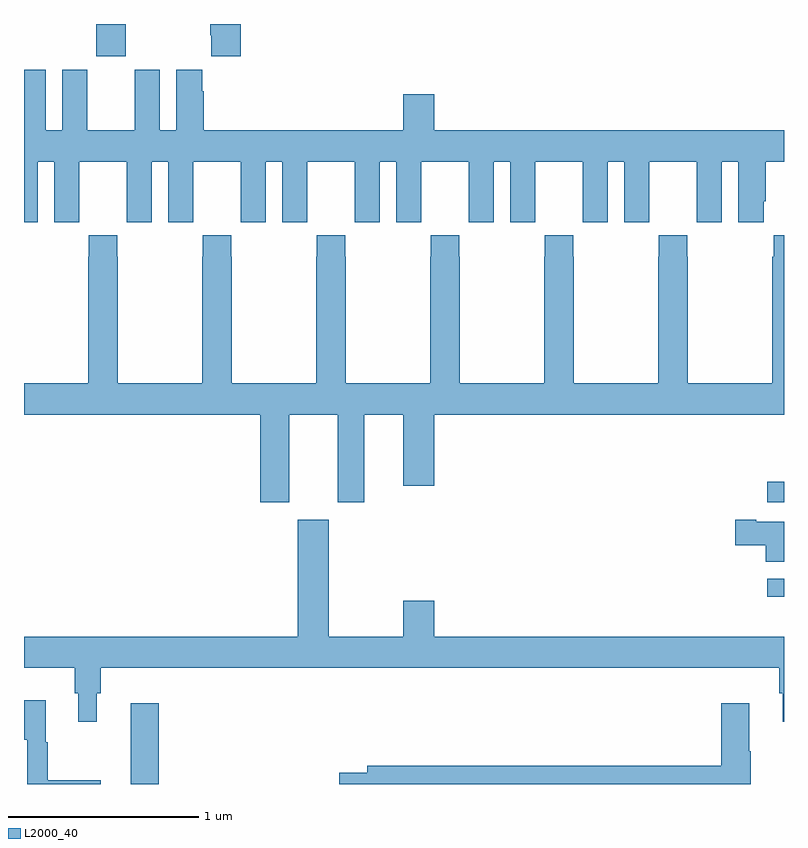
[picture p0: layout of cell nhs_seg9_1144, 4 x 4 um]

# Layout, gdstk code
import gdstk
lib = gdstk.Library(unit=1e-6, precision=1e-09)
def R(c, l, rs):  # rectangles x0, y0, x1, y1
    for r in rs: c.add(gdstk.rectangle(r[:2], r[2:], *l))
def P(c, l, *ps):  # polygons
    for p in ps: c.add(gdstk.Polygon(p, *l))
L2000_40 = (2000, 40)

nhs_seg9_1144 = lib.new_cell('nhs_seg9_1144')
R(nhs_seg9_1144, L2000_40, [(175.562,1170.5,175.709,1170.925), (178.911,1171.485,179,1171.581), (178.911,1171.983,179,1172.092), (175.381,1174.329,175.536,1174.5)])
P(nhs_seg9_1144, L2000_40, [(176.141,1174.5),(175.981,1174.5),(175.981,1174.441),(175.985,1174.441),(175.985,1174.329),(176.141,1174.329)],
  [(175.946,1174.145),(175.939,1174.145),(175.939,1174.258),(175.802,1174.258),(175.802,1173.94),(175.714,1173.94),(175.714,1174.258),(175.583,1174.258),(175.583,1173.94),(175.333,1173.94),(175.333,1174.258),(175.202,1174.258),(175.202,1173.94),(175.114,1173.94),(175.114,1174.258),(175,1174.258),(175,1173.456),(175.072,1173.456),(175.072,1173.776),(175.16,1173.776),(175.16,1173.456),(175.29,1173.456),(175.29,1173.568),(175.291,1173.568),(175.291,1173.776),(175.541,1173.776),(175.541,1173.568),(175.542,1173.568),(175.542,1173.456),(175.672,1173.456),(175.672,1173.776),(175.76,1173.776),(175.76,1173.456),(175.89,1173.456),(175.89,1173.568),(175.891,1173.568),(175.891,1173.776),(176.141,1173.776),(176.141,1173.568),(176.142,1173.568),(176.142,1173.456),(176.272,1173.456),(176.272,1173.776),(176.36,1173.776),(176.36,1173.456),(176.49,1173.456),(176.49,1173.568),(176.491,1173.568),(176.491,1173.776),(176.741,1173.776),(176.741,1173.568),(176.742,1173.568),(176.742,1173.456),(176.872,1173.456),(176.872,1173.776),(176.96,1173.776),(176.96,1173.456),(177.09,1173.456),(177.09,1173.568),(177.091,1173.568),(177.091,1173.776),(177.341,1173.776),(177.341,1173.568),(177.342,1173.568),(177.342,1173.456),(177.472,1173.456),(177.472,1173.776),(177.56,1173.776),(177.56,1173.456),(177.69,1173.456),(177.69,1173.568),(177.691,1173.568),(177.691,1173.776),(177.941,1173.776),(177.941,1173.568),(177.942,1173.568),(177.942,1173.456),(178.072,1173.456),(178.072,1173.776),(178.16,1173.776),(178.16,1173.456),(178.29,1173.456),(178.29,1173.568),(178.291,1173.568),(178.291,1173.776),(178.541,1173.776),(178.541,1173.568),(178.542,1173.568),(178.542,1173.456),(178.672,1173.456),(178.672,1173.776),(178.76,1173.776),(178.76,1173.456),(178.894,1173.456),(178.894,1173.568),(178.904,1173.568),(178.904,1173.776),(179,1173.776),(179,1173.94),(177.16,1173.94),(177.16,1174.129),(176.996,1174.129),(176.996,1173.94),(175.946,1173.94)],
  [(176.541,1173.388),(176.541,1173.275),(176.539,1173.275),(176.539,1172.608),(176.094,1172.608),(176.094,1173.275),(176.091,1173.275),(176.091,1173.388),(175.941,1173.388),(175.941,1173.275),(175.939,1173.275),(175.939,1172.608),(175.494,1172.608),(175.494,1173.275),(175.491,1173.275),(175.491,1173.388),(175.341,1173.388),(175.341,1173.275),(175.339,1173.275),(175.339,1172.608),(175,1172.608),(175,1172.444),(176.243,1172.444),(176.243,1171.983),(176.395,1171.983),(176.395,1172.444),(176.651,1172.444),(176.651,1171.983),(176.791,1171.983),(176.791,1172.444),(176.996,1172.444),(176.996,1172.07),(177.16,1172.07),(177.16,1172.444),(179,1172.444),(179,1173.388),(178.945,1173.388),(178.945,1173.275),(178.939,1173.275),(178.939,1172.608),(178.494,1172.608),(178.494,1173.275),(178.491,1173.275),(178.491,1173.388),(178.341,1173.388),(178.341,1173.275),(178.339,1173.275),(178.339,1172.608),(177.894,1172.608),(177.894,1173.275),(177.891,1173.275),(177.891,1173.388),(177.741,1173.388),(177.741,1173.275),(177.739,1173.275),(177.739,1172.608),(177.294,1172.608),(177.294,1173.275),(177.291,1173.275),(177.291,1173.388),(177.141,1173.388),(177.141,1173.275),(177.139,1173.275),(177.139,1172.608),(176.694,1172.608),(176.694,1173.275),(176.691,1173.275),(176.691,1173.388)],
  [(179,1171.879),(178.855,1171.879),(178.855,1171.892),(178.743,1171.892),(178.743,1171.757),(178.904,1171.757),(178.904,1171.67),(179,1171.67)],
  [(175.384,1170.978),(175.403,1170.978),(175.403,1171.112),(178.975,1171.112),(178.975,1170.978),(178.994,1170.978),(178.994,1170.828),(179,1170.828),(179,1171.276),(177.16,1171.276),(177.16,1171.465),(176.996,1171.465),(176.996,1171.276),(176.605,1171.276),(176.605,1171.891),(176.441,1171.891),(176.441,1171.276),(175,1171.276),(175,1171.112),(175.267,1171.112),(175.267,1170.978),(175.286,1170.978),(175.286,1170.828),(175.384,1170.828)],
  [(175.405,1170.521),(175.126,1170.521),(175.126,1170.72),(175.114,1170.72),(175.114,1170.94),(175,1170.94),(175,1170.734),(175.017,1170.734),(175.017,1170.5),(175.405,1170.5)],
  [(178.824,1170.673),(178.816,1170.673),(178.816,1170.925),(178.67,1170.925),(178.67,1170.596),(176.807,1170.596),(176.807,1170.56),(176.658,1170.56),(176.658,1170.5),(178.824,1170.5)])

lib.write_gds('nhs_seg9_1144.gds')
